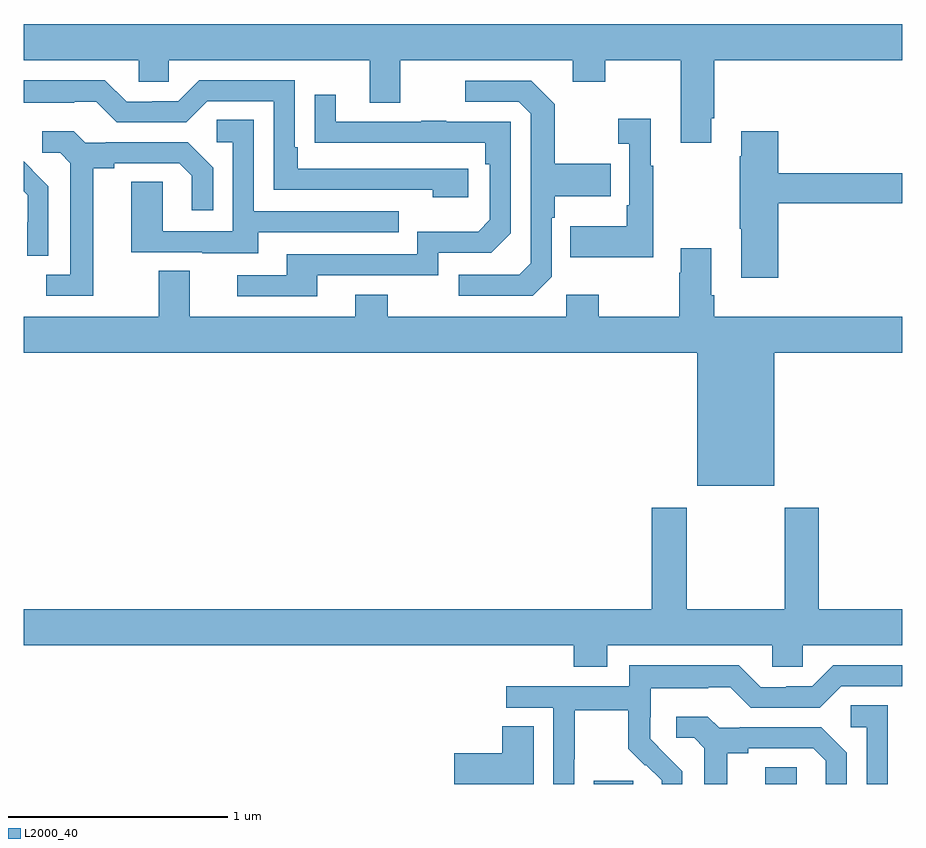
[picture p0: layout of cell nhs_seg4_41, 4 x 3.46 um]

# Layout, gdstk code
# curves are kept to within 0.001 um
import gdstk
lib = gdstk.Library(unit=1e-6, precision=1e-09)
def R(c, l, rs):  # rectangles x0, y0, x1, y1
    for r in rs: c.add(gdstk.rectangle(r[:2], r[2:], *l))
def P(c, l, *ps):  # polygons
    for p in ps: c.add(gdstk.Polygon(p, *l))
L2000_40 = (2000, 40)

nhs_seg4_41 = lib.new_cell('nhs_seg4_41')
R(nhs_seg4_41, L2000_40, [(115.595,750.9,115.774,750.915), (116.375,750.9,116.52,750.977)])
P(nhs_seg4_41, L2000_40, [(116.131,753.931),(116.144,753.931),(116.144,754.196),(117,754.196),(117,754.36),(113,754.36),(113,754.196),(113.523,754.196),(113.523,754.098),(113.661,754.098),(113.661,754.196),(114.575,754.196),(114.575,754.002),(114.715,754.002),(114.715,754.196),(115.499,754.196),(115.499,754.097),(115.647,754.097),(115.647,754.196),(115.991,754.196),(115.991,753.819),(116.131,753.819)],
  [(115.024,753.702),(114.247,753.702),(114.247,753.799),(114.234,753.799),(114.234,754.104),(113.799,754.104),(113.703,754.008),(113.585,754.008),(113.585,754.005),(113.469,754.005),(113.369,754.105),(113,754.105),(113,754.001),(113.231,754.001),(113.231,754.005),(113.331,754.005),(113.424,753.912),(113.739,753.912),(113.835,754.008),(114.138,754.008),(114.138,753.606),(114.863,753.606),(114.863,753.572),(115.024,753.572)],
  [(115.404,753.21),(115.404,753.479),(115.417,753.479),(115.417,753.575),(115.673,753.575),(115.673,753.723),(115.417,753.723),(115.417,753.995),(115.311,754.101),(115.011,754.101),(115.011,754.005),(115.254,754.005),(115.308,753.951),(115.308,753.27),(115.257,753.219),(114.981,753.219),(114.981,753.123),(115.317,753.123)],
  [(114.337,753.216),(114.888,753.216),(114.888,753.318),(115.128,753.318),(115.218,753.408),(115.218,753.915),(114.923,753.915),(114.923,753.92),(114.811,753.92),(114.811,753.915),(114.421,753.915),(114.421,754.039),(114.325,754.039),(114.325,753.82),(115.102,753.819),(115.102,753.722),(115.122,753.722),(115.122,753.468),(115.069,753.415),(114.792,753.415),(114.792,753.312),(114.197,753.312),(114.197,753.216),(113.973,753.216),(113.973,753.12),(114.337,753.12)],
  [(115.867,753.715),(115.855,753.715),(115.855,753.928),(115.707,753.928),(115.707,753.815),(115.758,753.815),(115.758,753.535),(115.746,753.535),(115.746,753.439),(115.489,753.439),(115.489,753.299),(115.867,753.299)],
  [(114.067,753.411),(114.707,753.411),(114.707,753.507),(114.048,753.507),(114.048,753.923),(113.88,753.923),(113.88,753.822),(113.952,753.822),(113.952,753.417),(113.634,753.417),(113.634,753.641),(113.489,753.641),(113.489,753.321),(113.813,753.321),(113.813,753.317),(114.067,753.317)],
  [(116.435,753.544),(117,753.544),(117,753.68),(116.435,753.68),(116.435,753.871),(116.267,753.871),(116.267,753.758),(116.26,753.758),(116.26,753.427),(116.267,753.427),(116.267,753.204),(116.435,753.204)],
  [(113.317,753.704),(113.413,753.704),(113.413,753.726),(113.708,753.726),(113.765,753.669),(113.765,753.513),(113.862,753.513),(113.862,753.706),(113.746,753.822),(113.374,753.822),(113.374,753.819),(113.28,753.819),(113.228,753.871),(113.085,753.871),(113.085,753.774),(113.166,753.774),(113.213,753.727),(113.213,753.219),(113.103,753.219),(113.103,753.123),(113.317,753.123)],
  [(113.112,753.622),(113.039,753.695),(113.04,753.696),(113,753.736),(113,753.599),(113.018,753.581),(113.018,753.458),(113.016,753.458),(113.016,753.304),(113.112,753.304)],
  [(116.416,752.864),(117,752.864),(117,753.028),(116.144,753.028),(116.144,753.124),(116.131,753.124),(116.131,753.34),(115.991,753.34),(115.991,753.227),(115.984,753.227),(115.984,753.028),(115.617,753.028),(115.617,753.127),(115.47,753.127),(115.47,753.028),(114.657,753.028),(114.657,753.127),(114.509,753.127),(114.509,753.028),(113.755,753.028),(113.755,753.236),(113.615,753.236),(113.615,753.028),(113,753.028),(113,752.864),(116.066,752.864),(116.066,752.258),(116.416,752.258)],
  [(115.657,751.532),(116.409,751.532),(116.409,751.434),(116.547,751.434),(116.547,751.532),(117,751.532),(117,751.696),(116.619,751.696),(116.619,752.158),(116.464,752.158),(116.464,751.696),(116.019,751.696),(116.019,752.158),(115.859,752.158),(115.859,751.696),(113,751.696),(113,751.532),(115.505,751.532),(115.505,751.433),(115.657,751.433)],
  [(115.506,751.012),(115.509,751.012),(115.509,751.236),(115.753,751.236),(115.753,751.061),(115.83,750.984),(115.833,750.987),(115.904,750.917),(115.904,750.9),(115.998,750.9),(115.998,750.958),(115.852,751.106),(115.852,751.203),(115.854,751.203),(115.854,751.337),(116.117,751.337),(116.117,751.341),(116.217,751.341),(116.31,751.248),(116.625,751.248),(116.721,751.344),(117,751.344),(117,751.44),(116.685,751.44),(116.589,751.344),(116.471,751.344),(116.471,751.341),(116.355,751.341),(116.255,751.441),(115.758,751.441),(115.758,751.344),(115.197,751.344),(115.197,751.248),(115.41,751.248),(115.41,750.9),(115.506,750.9)],
  [(116.934,751.259),(116.766,751.259),(116.766,751.158),(116.838,751.158),(116.838,750.9),(116.934,750.9)],
  [(116.203,751.04),(116.299,751.04),(116.299,751.062),(116.594,751.062),(116.651,751.005),(116.651,750.9),(116.748,750.9),(116.748,751.042),(116.632,751.158),(116.26,751.158),(116.26,751.155),(116.166,751.155),(116.114,751.207),(115.971,751.207),(115.971,751.11),(116.052,751.11),(116.099,751.063),(116.099,750.9),(116.203,750.9)],
  [(115.321,751.163),(115.178,751.163),(115.178,751.04),(114.96,751.04),(114.96,750.9),(115.321,750.9)])

lib.write_gds('nhs_seg4_41.gds')
